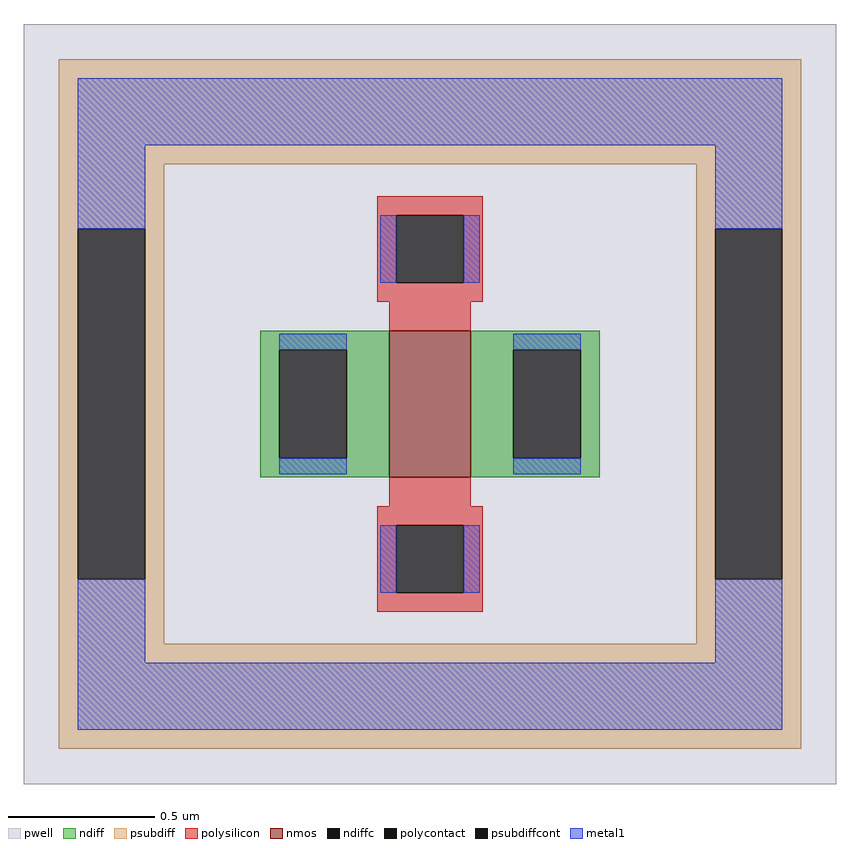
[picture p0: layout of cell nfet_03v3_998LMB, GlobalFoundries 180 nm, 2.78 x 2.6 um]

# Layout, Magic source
magic
tech gf180mcuD
magscale 1 10
<< pwell >>
rect -278 -260 278 260
<< nmos >>
rect -28 -50 28 50
<< ndiff >>
rect -116 37 -28 50
rect -116 -37 -103 37
rect -57 -37 -28 37
rect -116 -50 -28 -37
rect 28 37 116 50
rect 28 -37 57 37
rect 103 -37 116 37
rect 28 -50 116 -37
<< ndiffc >>
rect -103 -37 -57 37
rect 57 -37 103 37
<< psubdiff >>
rect -254 164 254 236
rect -254 120 -182 164
rect -254 -120 -241 120
rect -195 -120 -182 120
rect 182 120 254 164
rect -254 -164 -182 -120
rect 182 -120 195 120
rect 241 -120 254 120
rect 182 -164 254 -120
rect -254 -236 254 -164
<< psubdiffcont >>
rect -241 -120 -195 120
rect 195 -120 241 120
<< polysilicon >>
rect -36 129 36 142
rect -36 83 -23 129
rect 23 83 36 129
rect -36 70 36 83
rect -28 50 28 70
rect -28 -70 28 -50
rect -36 -83 36 -70
rect -36 -129 -23 -83
rect 23 -129 36 -83
rect -36 -142 36 -129
<< polycontact >>
rect -23 83 23 129
rect -23 -129 23 -83
<< metal1 >>
rect -241 177 241 223
rect -241 120 -195 177
rect -34 83 -23 129
rect 23 83 34 129
rect 195 120 241 177
rect -103 37 -57 48
rect -103 -48 -57 -37
rect 57 37 103 48
rect 57 -48 103 -37
rect -241 -177 -195 -120
rect -34 -129 -23 -83
rect 23 -129 34 -83
rect 195 -177 241 -120
rect -241 -223 241 -177
<< properties >>
string FIXED_BBOX -218 -200 218 200
string gencell nfet_03v3
string library gf180mcu
string parameters w 0.5 l 0.28 m 1 nf 1 diffcov 100 polycov 100 guard 1 glc 1 grc 1 gtc 0 gbc 0 tbcov 100 rlcov 100 topc 1 botc 1 poverlap 0 doverlap 1 lmin 0.28 wmin 0.22 class mosfet full_metal 1 compatible {nfet_03v3 nfet_05v0 nfet_06v0 nfet_06v0_nvt} ad {int((nf+1)/2) * W/nf * 0.18u} as {int((nf+2)/2) * W/nf * 0.18u} pd {2*int((nf+1)/2) * (W/nf + 0.18u)} ps {2*int((nf+2)/2) * (W/nf + 0.18u)} nrd {0.18u / W} nrs {0.18u / W} sa 0 sb 0 sd 0
<< end >>
